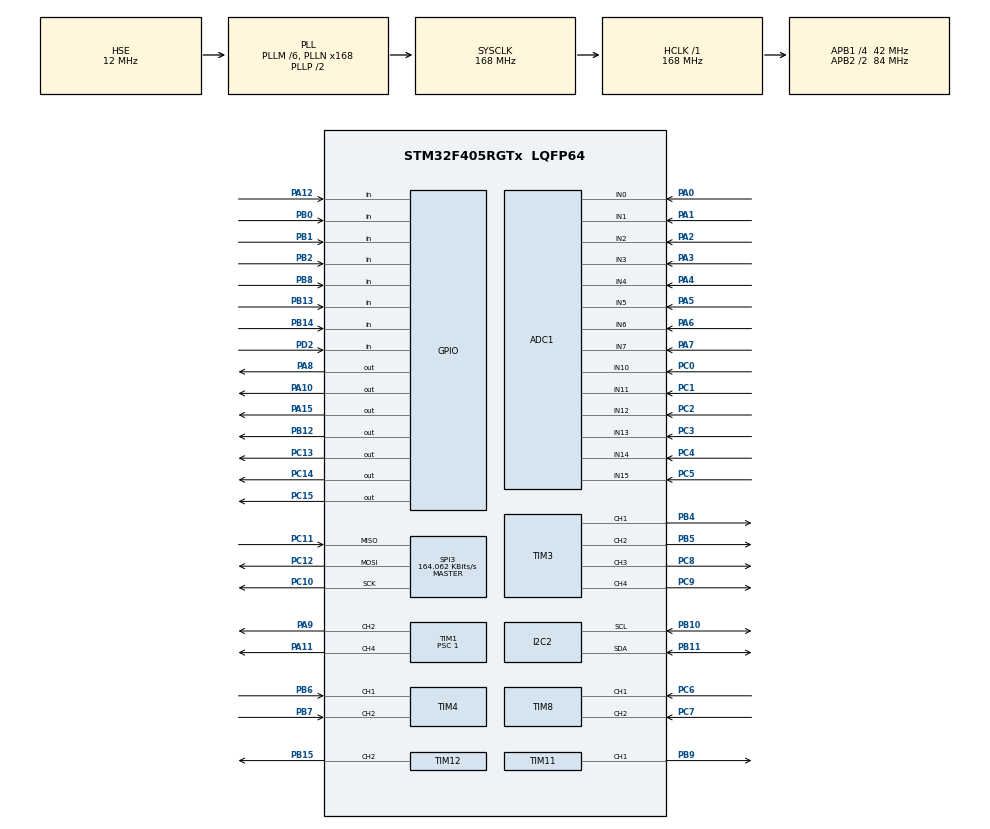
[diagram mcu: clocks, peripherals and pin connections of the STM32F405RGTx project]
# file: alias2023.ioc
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ADC1.Channel-0\#ChannelRegularConversion=ADC_CHANNEL_3
ADC1.Channel-1\#ChannelRegularConversion=ADC_CHANNEL_4
ADC1.Channel-10\#ChannelRegularConversion=ADC_CHANNEL_13
ADC1.Channel-11\#ChannelRegularConversion=ADC_CHANNEL_2
ADC1.Channel-12\#ChannelRegularConversion=ADC_CHANNEL_1
ADC1.Channel-13\#ChannelRegularConversion=ADC_CHANNEL_0
ADC1.Channel-2\#ChannelRegularConversion=ADC_CHANNEL_5
ADC1.Channel-3\#ChannelRegularConversion=ADC_CHANNEL_6
ADC1.Channel-4\#ChannelRegularConversion=ADC_CHANNEL_7
ADC1.Channel-5\#ChannelRegularConversion=ADC_CHANNEL_14
ADC1.Channel-6\#ChannelRegularConversion=ADC_CHANNEL_15
ADC1.Channel-7\#ChannelRegularConversion=ADC_CHANNEL_10
ADC1.Channel-8\#ChannelRegularConversion=ADC_CHANNEL_11
ADC1.Channel-9\#ChannelRegularConversion=ADC_CHANNEL_12
ADC1.ClockPrescaler=ADC_CLOCK_SYNC_PCLK_DIV4
ADC1.ContinuousConvMode=ENABLE
ADC1.DMAContinuousRequests=ENABLE
ADC1.EnableAnalogWatchDog=false
ADC1.NbrOfConversion=14
ADC1.NbrOfConversionFlag=1
ADC1.Rank-0\#ChannelRegularConversion=1
ADC1.Rank-1\#ChannelRegularConversion=2
ADC1.Rank-10\#ChannelRegularConversion=11
ADC1.Rank-11\#ChannelRegularConversion=12
ADC1.Rank-12\#ChannelRegularConversion=13
ADC1.Rank-13\#ChannelRegularConversion=14
ADC1.Rank-2\#ChannelRegularConversion=3
ADC1.Rank-3\#ChannelRegularConversion=4
ADC1.Rank-4\#ChannelRegularConversion=5
ADC1.Rank-5\#ChannelRegularConversion=6
ADC1.Rank-6\#ChannelRegularConversion=7
ADC1.Rank-7\#ChannelRegularConversion=8
ADC1.Rank-8\#ChannelRegularConversion=9
ADC1.Rank-9\#ChannelRegularConversion=10
ADC1.SamplingTime-0\#ChannelRegularConversion=ADC_SAMPLETIME_15CYCLES
ADC1.SamplingTime-1\#ChannelRegularConversion=ADC_SAMPLETIME_15CYCLES
ADC1.SamplingTime-10\#ChannelRegularConversion=ADC_SAMPLETIME_15CYCLES
ADC1.SamplingTime-11\#ChannelRegularConversion=ADC_SAMPLETIME_15CYCLES
ADC1.SamplingTime-12\#ChannelRegularConversion=ADC_SAMPLETIME_15CYCLES
ADC1.SamplingTime-13\#ChannelRegularConversion=ADC_SAMPLETIME_15CYCLES
ADC1.SamplingTime-2\#ChannelRegularConversion=ADC_SAMPLETIME_15CYCLES
ADC1.SamplingTime-3\#ChannelRegularConversion=ADC_SAMPLETIME_15CYCLES
ADC1.SamplingTime-4\#ChannelRegularConversion=ADC_SAMPLETIME_15CYCLES
ADC1.SamplingTime-5\#ChannelRegularConversion=ADC_SAMPLETIME_15CYCLES
ADC1.SamplingTime-6\#ChannelRegularConversion=ADC_SAMPLETIME_15CYCLES
ADC1.SamplingTime-7\#ChannelRegularConversion=ADC_SAMPLETIME_15CYCLES
ADC1.SamplingTime-8\#ChannelRegularConversion=ADC_SAMPLETIME_15CYCLES
ADC1.SamplingTime-9\#ChannelRegularConversion=ADC_SAMPLETIME_15CYCLES
ADC1.ScanConvMode=ENABLE
ADC1.master=1
Dma.ADC1.0.Direction=DMA_PERIPH_TO_MEMORY
Dma.ADC1.0.FIFOMode=DMA_FIFOMODE_DISABLE
Dma.ADC1.0.Instance=DMA2_Stream0
Dma.ADC1.0.MemDataAlignment=DMA_MDATAALIGN_HALFWORD
Dma.ADC1.0.MemInc=DMA_MINC_ENABLE
Dma.ADC1.0.Mode=DMA_CIRCULAR
Dma.ADC1.0.PeriphDataAlignment=DMA_PDATAALIGN_HALFWORD
Dma.ADC1.0.PeriphInc=DMA_PINC_DISABLE
Dma.ADC1.0.Priority=DMA_PRIORITY_LOW
Dma.Request0=ADC1
Mcu.Family=STM32F4
Mcu.Name=STM32F405RGTx
Mcu.Package=LQFP64
NVIC.DMA2_Stream0_IRQn=true\:0\:0\:false\:false\:true\:false\:true
NVIC.PriorityGroup=NVIC_PRIORITYGROUP_4
NVIC.TIM2_IRQn=true\:0\:0\:false\:false\:true\:true\:true
NVIC.TIM5_IRQn=true\:0\:0\:false\:false\:true\:true\:true
NVIC.TIM6_DAC_IRQn=true\:1\:0\:true\:false\:true\:true\:true
NVIC.TIM7_IRQn=true\:0\:0\:false\:false\:true\:true\:true
PA0-WKUP.Signal=ADCx_IN0
PA1.Signal=ADCx_IN1
PA10.Signal=GPIO_Output
PA11.Signal=S_TIM1_CH4
PA12.GPIO_PuPd=GPIO_PULLUP
PA12.Signal=GPIO_Input
PA13.Mode=Trace_Asynchronous_SW
PA13.Signal=SYS_JTMS-SWDIO
PA14.Mode=Trace_Asynchronous_SW
PA14.Signal=SYS_JTCK-SWCLK
PA15.Signal=GPIO_Output
PA2.Signal=ADCx_IN2
PA3.Signal=ADCx_IN3
PA4.Signal=ADCx_IN4
PA5.Signal=ADCx_IN5
PA6.Signal=ADCx_IN6
PA7.Signal=ADCx_IN7
PA8.Signal=GPIO_Output
PA9.Signal=S_TIM1_CH2
PB0.GPIO_PuPd=GPIO_PULLUP
PB0.Signal=GPIO_Input
PB1.GPIO_PuPd=GPIO_PULLUP
PB1.Signal=GPIO_Input
PB10.Mode=I2C
PB10.Signal=I2C2_SCL
PB11.Mode=I2C
PB11.Signal=I2C2_SDA
PB12.PinState=GPIO_PIN_SET
PB12.Signal=GPIO_Output
PB13.Signal=GPIO_Input
PB14.Signal=GPIO_Input
PB15.Signal=S_TIM12_CH2
PB2.GPIO_PuPd=GPIO_PULLUP
PB2.Signal=GPIO_Input
PB3.Mode=Trace_Asynchronous_SW
PB3.Signal=SYS_JTDO-SWO
PB4.Signal=S_TIM3_CH1
PB5.Signal=S_TIM3_CH2
PB6.Signal=S_TIM4_CH1
PB7.Signal=S_TIM4_CH2
PB8.Signal=GPIO_Input
PB9.Signal=S_TIM11_CH1
PC0.Signal=ADCx_IN10
PC1.Signal=ADCx_IN11
PC10.Mode=Full_Duplex_Master
PC10.Signal=SPI3_SCK
PC11.Mode=Full_Duplex_Master
PC11.Signal=SPI3_MISO
PC12.Mode=Full_Duplex_Master
PC12.Signal=SPI3_MOSI
PC13-ANTI_TAMP.Signal=GPIO_Output
PC14-OSC32_IN.Signal=GPIO_Output
PC15-OSC32_OUT.Signal=GPIO_Output
PC2.Signal=ADCx_IN12
PC3.Signal=ADCx_IN13
PC4.Signal=ADCx_IN14
PC5.Signal=ADCx_IN15
PC6.Signal=S_TIM8_CH1
PC7.Signal=S_TIM8_CH2
PC8.Signal=S_TIM3_CH3
PC9.Signal=S_TIM3_CH4
PD2.Signal=GPIO_Input
PH0-OSC_IN.Mode=HSE-External-Oscillator
PH0-OSC_IN.Signal=RCC_OSC_IN
PH1-OSC_OUT.Mode=HSE-External-Oscillator
PH1-OSC_OUT.Signal=RCC_OSC_OUT
ProjectManager.HeapSize=0x200
ProjectManager.StackSize=0x400
ProjectManager.TargetToolchain=STM32CubeIDE
RCC.48MHZClocksFreq_Value=84000000
RCC.AHBFreq_Value=168000000
RCC.APB1CLKDivider=RCC_HCLK_DIV4
RCC.APB1Freq_Value=42000000
RCC.APB1TimFreq_Value=84000000
RCC.APB2CLKDivider=RCC_HCLK_DIV2
RCC.APB2Freq_Value=84000000
RCC.APB2TimFreq_Value=168000000
RCC.CortexFreq_Value=168000000
RCC.HCLKFreq_Value=168000000
RCC.HSE_VALUE=12000000
RCC.HSI_VALUE=16000000
RCC.LSE_VALUE=32768
RCC.PLLM=6
RCC.PLLN=168
RCC.PLLSourceVirtual=RCC_PLLSOURCE_HSE
RCC.SYSCLKFreq_VALUE=168000000
RCC.SYSCLKSource=RCC_SYSCLKSOURCE_PLLCLK
RCC.VCOOutputFreq_Value=336000000
SH.ADCx_IN0.0=ADC1_IN0,IN0
SH.ADCx_IN1.0=ADC1_IN1,IN1
SH.ADCx_IN10.0=ADC1_IN10,IN10
SH.ADCx_IN11.0=ADC1_IN11,IN11
SH.ADCx_IN12.0=ADC1_IN12,IN12
SH.ADCx_IN13.0=ADC1_IN13,IN13
SH.ADCx_IN14.0=ADC1_IN14,IN14
SH.ADCx_IN15.0=ADC1_IN15,IN15
SH.ADCx_IN2.0=ADC1_IN2,IN2
SH.ADCx_IN3.0=ADC1_IN3,IN3
SH.ADCx_IN4.0=ADC1_IN4,IN4
SH.ADCx_IN5.0=ADC1_IN5,IN5
SH.ADCx_IN6.0=ADC1_IN6,IN6
SH.ADCx_IN7.0=ADC1_IN7,IN7
SH.S_TIM11_CH1.0=TIM11_CH1,PWM Generation1 CH1
SH.S_TIM12_CH2.0=TIM12_CH2,PWM Generation2 CH2
SH.S_TIM1_CH2.0=TIM1_CH2,PWM Generation2 CH2
SH.S_TIM1_CH4.0=TIM1_CH4,PWM Generation4 CH4
SH.S_TIM3_CH1.0=TIM3_CH1,PWM Generation1 CH1
SH.S_TIM3_CH2.0=TIM3_CH2,PWM Generation2 CH2
SH.S_TIM3_CH3.0=TIM3_CH3,PWM Generation3 CH3
SH.S_TIM3_CH4.0=TIM3_CH4,PWM Generation4 CH4
SH.S_TIM4_CH1.0=TIM4_CH1,Encoder_Interface
SH.S_TIM4_CH2.0=TIM4_CH2,Encoder_Interface
SH.S_TIM8_CH1.0=TIM8_CH1,Encoder_Interface
SH.S_TIM8_CH2.0=TIM8_CH2,Encoder_Interface
SPI3.BaudRatePrescaler=SPI_BAUDRATEPRESCALER_256
SPI3.CalculateBaudRate=164.062 KBits/s
SPI3.Direction=SPI_DIRECTION_2LINES
SPI3.Mode=SPI_MODE_MASTER
SPI3.VirtualType=VM_MASTER
TIM1.Channel-PWM\ Generation2\ CH2=TIM_CHANNEL_2
TIM1.Channel-PWM\ Generation4\ CH4=TIM_CHANNEL_4
TIM1.Period=1049
TIM1.Prescaler=1
TIM11.Channel=TIM_CHANNEL_1
TIM11.Period=1679
TIM12.Channel-PWM\ Generation2\ CH2=TIM_CHANNEL_2
TIM12.Period=53
TIM12.Prescaler=880
TIM2.Period=104999
TIM2.Prescaler=4
TIM3.Channel-PWM\ Generation1\ CH1=TIM_CHANNEL_1
TIM3.Channel-PWM\ Generation2\ CH2=TIM_CHANNEL_2
TIM3.Channel-PWM\ Generation3\ CH3=TIM_CHANNEL_3
TIM3.Channel-PWM\ Generation4\ CH4=TIM_CHANNEL_4
TIM4.EncoderMode=TIM_ENCODERMODE_TI12
TIM5.Period=20999
TIM5.Prescaler=4
TIM6.Period=10499
TIM6.Prescaler=4
TIM7.Period=1049
TIM7.Prescaler=4
TIM8.EncoderMode=TIM_ENCODERMODE_TI12
VP_TIM11_VS_ClockSourceINT.Mode=Enable_Timer
VP_TIM2_VS_ClockSourceINT.Mode=Internal
VP_TIM5_VS_ClockSourceINT.Mode=Internal
VP_TIM6_VS_ClockSourceINT.Mode=Enable_Timer
VP_TIM7_VS_ClockSourceINT.Mode=Enable_Timer
board=custom

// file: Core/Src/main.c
/* USER CODE BEGIN Header */
/**
  ******************************************************************************
  * @file           : main.c
  * @brief          : Main program body
  ******************************************************************************
  * @attention
  *
  * <h2><center>&copy; Copyright (c) 2023 STMicroelectronics.
  * All rights reserved.</center></h2>
  *
  * This software component is licensed by ST under BSD 3-Clause license,
  * the "License"; You may not use this file except in compliance with the
  * License. You may obtain a copy of the License at:
  *                        opensource.org/licenses/BSD-3-Clause
  *
  ******************************************************************************
  */
/* USER CODE END Header */
#include "main.h"

/* USER CODE BEGIN Includes */
#include "wrapper.hpp"

/* USER CODE END Includes */

ADC_HandleTypeDef hadc1;
DMA_HandleTypeDef hdma_adc1;

I2C_HandleTypeDef hi2c2;

SPI_HandleTypeDef hspi3;

TIM_HandleTypeDef htim1;
TIM_HandleTypeDef htim2;
TIM_HandleTypeDef htim3;
TIM_HandleTypeDef htim4;
TIM_HandleTypeDef htim5;
TIM_HandleTypeDef htim6;
TIM_HandleTypeDef htim7;
TIM_HandleTypeDef htim8;
TIM_HandleTypeDef htim11;
TIM_HandleTypeDef htim12;

/* USER CODE BEGIN PV */
#ifdef DEBUG_MODE
int16_t g_int_radian = 0;
uint16_t monitor_count;
float g_swo_test = 0;
float g_radian = 0;

float g_rad_stack_z = 0;
float g_rad_z = 0;
float g_run_pid_ratio = 0;

uint16_t g_monitor_u16 = 0;
float g_velocity = 0;
float g_angular_velocity = 0;
float g_distance_log[80] = {0};
float g_angular_log[80] = {0};

float g_ram_distance[3100];
float g_ram_radian[3100];

uint8_t g_run_mode_changed_internal_cnt = 0;

uint8_t g_store_distance = 0;
uint8_t g_store_radian = 0;
uint8_t g_store_various = 0;
uint8_t g_store_correct = 0;
uint8_t g_store_accel = 0;
uint8_t g_store_decel = 0;

/* Line sensor */
float g_line_diff = 0;
bool g_line_emer = false;
bool g_line_calib = false;

bool g_error_handler_adc1 = false;
bool g_error_handler_tim11 = false;
bool g_error_handler_tim1_ch2 = false;
bool g_error_handler_tim1_ch4 = false;
bool g_error_handler_tim4 = false;
bool g_error_handler_tim8 = false;
bool g_interval_enable = true;
uint16_t g_line_buff[NUM_OF_LINE_SENSORS] = {0};
uint16_t g_consecutive_line_buff[NUM_OF_LINE_SENSORS][CONSECUTIVE_TIMES] = {{0}};
uint16_t g_max_line_valu[NUM_OF_LINE_SENSORS] = {0};
uint16_t g_min_line_valu[NUM_OF_LINE_SENSORS] = {0};
uint16_t g_line_valu[NUM_OF_LINE_SENSORS] = {0};
uint32_t g_line_left = 0;
uint32_t g_line_right = 0;

/* Side seneor */
uint8_t g_side_pre_state = 0;
uint8_t g_side_now_state = 0;
uint32_t g_side_change_state_count = 0;
uint8_t g_side_goal_reach = 0;
uint8_t g_side_corner_reach = 0;
uint8_t g_side_cross_reach = 0;
uint8_t g_side_black_flag = 0;
uint8_t g_side_goal_flag = 0;
uint8_t g_side_corner_flag = 0;
uint8_t g_side_cross_flag = 0;
uint8_t g_side_before_noise_state = 0;
uint8_t g_side_noise_count = 0;
uint8_t g_side_ignore_flag = 0;
uint8_t g_goal_count = 0;
uint8_t g_corner_count = 0;
uint8_t g_cross_count = 0;

uint8_t g_ignore_flag = 0;
uint8_t g_corner_cnt = 0;
uint8_t g_cross_cnt = 0;
/* Monitor method CountUp 1 */
uint8_t g_pre_noise_state_cntup = 0;
uint8_t g_current_state_cntup = 0;
uint8_t g_exception_flags_cntup = 0;
uint8_t g_master_count_cntup = 0;
/* Monitor method CountUp 2 */
uint8_t g_exception_flags_cross = 0;
uint8_t g_master_count_cross = 0;
uint8_t g_write_state_cntup = 0;
uint8_t g_goal_reach_cntup = 0;
uint8_t g_corner_reach_cntup = 0;
uint8_t g_black_flag_cntup = 0;
uint8_t g_goal_flag_cntup = 0;
uint8_t g_corner_flag_cntup = 0;
uint8_t g_cross_flag_cntup = 0;
/* Monitor method CountUp 3 */
uint8_t g_write_state_cntup_2 = 0;
uint8_t g_goal_reach_cntup_2 = 0;
uint8_t g_corner_reach_cntup_2 = 0;
uint8_t g_black_flag_cntup_2 = 0;
uint8_t g_goal_flag_cntup_2 = 0;
uint8_t g_corner_flag_cntup_2 = 0;
uint8_t g_cross_flag_cntup_2 = 0;

/* IMU */
float g_calib_rad_stack = 0;
uint8_t g_imu_who_l = 0, g_imu_who_r = 0;
uint8_t g_imu_bank_l = 0, g_imu_bank_r = 0;
uint8_t g_imu_pwr_l = 0, g_imu_pwr_r = 0;
uint8_t g_imu_init = 0;
double g_deg_stack_z = 0;
float g_deg_z = 0;
int16_t g_gyro_x_l = 0, g_gyro_x_r = 0;
int16_t g_gyro_y_l = 0, g_gyro_y_r = 0;
int16_t g_gyro_z_l = 0, g_gyro_z_r = 0;
int16_t g_accel_x_l = 0, g_accel_x_r = 0;
int16_t g_accel_y_l = 0, g_accel_y_r = 0;
int16_t g_accel_z_l = 0, g_accel_z_r = 0;

/* Encoder */
int16_t g_enc_cnt_l = 0, g_enc_cnt_r = 0;
float g_distance_l = 0, g_distance_r = 0;
float g_distance = 0;
float g_distance_stack = 0;
float g_distance_diff = 0;

/* Motor */
float g_translation_ratio = 0;
float g_rotation_ratio = 0;
float g_sum_raito = 0;
float g_excess_ratio = 0;
float g_reduced_translation = 0;
float g_duty_l = 0, g_duty_r = 0;
int16_t g_motor_compare_l = 0, g_motor_compare_r = 0;

/* Flash */
uint32_t g_erase_failed_sector = 0;

/* Line trace */
float g_trace_p = 0;
float g_trace_i = 0;
float g_trace_d = 0;

/* Velocity control */
float g_target_velocity = 0;
float g_current_velocity = 0;
float g_filter_velocity = 0;
float g_velocity_error = 0;
float g_velocity_p = 0, g_velocity_i = 0, g_velocity_d = 0;
float g_velocity_p_gain = 0, g_velocity_i_gain = 0, g_velocity_d_gain = 0;

/* Wrapper */
uint32_t g_external_interrupt = 0;
uint32_t g_tim7 = 0;
uint32_t g_tim6 = 0;
uint32_t g_tim5 = 0;
uint32_t g_tim2 = 0;
uint8_t g_flash_test = 0;
#endif // DEBUG_MODE

/* Wrapper */
uint8_t g_main_while_reset = 0;
uint8_t g_switch_state = 0;
uint8_t g_mode = 0;
uint8_t g_emergency_stop = 0;
uint8_t g_run_end = 0;
/* Timer */
uint8_t g_tim6_complete = 0, g_tim5_complete = 0, g_tim2_complete = 0;
uint8_t g_tim6_yet = 0, g_tim5_yet = 0, g_tim2_yet = 0;
uint8_t g_goal_cnt = 0;
float g_trans = 0;
float g_rotat = 0;
uint8_t g_first_log_failed = 0;
uint8_t g_store_periodic_log = 0;
uint8_t g_store_accel_log = 0;
float g_target = 0;
float g_common_speed = 0;
uint8_t g_process_complete = 0;
uint8_t g_flash_erase = 0;

/* USER CODE END PV */

void SystemClock_Config(void);
static void MX_GPIO_Init(void);
static void MX_DMA_Init(void);
static void MX_ADC1_Init(void);
static void MX_I2C2_Init(void);
static void MX_SPI3_Init(void);
static void MX_TIM1_Init(void);
static void MX_TIM3_Init(void);
static void MX_TIM4_Init(void);
static void MX_TIM6_Init(void);
static void MX_TIM7_Init(void);
static void MX_TIM8_Init(void);
static void MX_TIM11_Init(void);
static void MX_TIM12_Init(void);
static void MX_TIM2_Init(void);
static void MX_TIM5_Init(void);

/* USER CODE BEGIN 0 */
void HAL_TIM_PeriodElapsedCallback(TIM_HandleTypeDef *htim)
{
  if(htim->Instance == TIM2)
  {
    InterruptTim2();
  }
  if(htim->Instance == TIM6)
  {
    InterruptTim6();
  }
  if(htim->Instance == TIM7)
  {
    InterruptTim7();
  }
}

/* USER CODE END 0 */

int main(void)
{

  /* MCU Configuration--------------------------------------------------------*/

  /* Reset of all peripherals, Initializes the Flash interface and the Systick. */
  HAL_Init();

  /* Configure the system clock */
  SystemClock_Config();

  /* Initialize all configured peripherals */
  MX_GPIO_Init();
  MX_DMA_Init();
  MX_ADC1_Init();
  MX_I2C2_Init();
  MX_SPI3_Init();
  MX_TIM1_Init();
  MX_TIM3_Init();
  MX_TIM4_Init();
  MX_TIM6_Init();
  MX_TIM7_Init();
  MX_TIM8_Init();
  MX_TIM11_Init();
  MX_TIM12_Init();
  MX_TIM2_Init();
  MX_TIM5_Init();
  /* USER CODE BEGIN 2 */
  Init();

  /* USER CODE END 2 */

  /* Infinite loop */
  while (1)
  {

    /* USER CODE BEGIN 3 */
  }

#ifdef DEBUG_MODE
  RamLog();
#endif // DEBUG_MODE

  /* USER CODE END 3 */
}

void SystemClock_Config(void)
{
  RCC_OscInitTypeDef RCC_OscInitStruct = {0};
  RCC_ClkInitTypeDef RCC_ClkInitStruct = {0};

  /** Configure the main internal regulator output voltage
  */
  __HAL_RCC_PWR_CLK_ENABLE();
  __HAL_PWR_VOLTAGESCALING_CONFIG(PWR_REGULATOR_VOLTAGE_SCALE1);
  /** Initializes the RCC Oscillators according to the specified parameters
  * in the RCC_OscInitTypeDef structure.
  */
  RCC_OscInitStruct.OscillatorType = RCC_OSCILLATORTYPE_HSE;
  RCC_OscInitStruct.HSEState = RCC_HSE_ON;
  RCC_OscInitStruct.PLL.PLLState = RCC_PLL_ON;
  RCC_OscInitStruct.PLL.PLLSource = RCC_PLLSOURCE_HSE;
  RCC_OscInitStruct.PLL.PLLM = 6;
  RCC_OscInitStruct.PLL.PLLN = 168;
  RCC_OscInitStruct.PLL.PLLP = RCC_PLLP_DIV2;
  RCC_OscInitStruct.PLL.PLLQ = 4;
  if (HAL_RCC_OscConfig(&RCC_OscInitStruct) != HAL_OK)
  {
    Error_Handler();
  }
  /** Initializes the CPU, AHB and APB buses clocks
  */
  RCC_ClkInitStruct.ClockType = RCC_CLOCKTYPE_HCLK|RCC_CLOCKTYPE_SYSCLK
                              |RCC_CLOCKTYPE_PCLK1|RCC_CLOCKTYPE_PCLK2;
  RCC_ClkInitStruct.SYSCLKSource = RCC_SYSCLKSOURCE_PLLCLK;
  RCC_ClkInitStruct.AHBCLKDivider = RCC_SYSCLK_DIV1;
  RCC_ClkInitStruct.APB1CLKDivider = RCC_HCLK_DIV4;
  RCC_ClkInitStruct.APB2CLKDivider = RCC_HCLK_DIV2;

  if (HAL_RCC_ClockConfig(&RCC_ClkInitStruct, FLASH_LATENCY_5) != HAL_OK)
  {
    Error_Handler();
  }
}

static void MX_ADC1_Init(void)
{

  ADC_ChannelConfTypeDef sConfig = {0};

  /** Configure the global features of the ADC (Clock, Resolution, Data Alignment and number of conversion)
  */
  hadc1.Instance = ADC1;
  hadc1.Init.ClockPrescaler = ADC_CLOCK_SYNC_PCLK_DIV4;
  hadc1.Init.Resolution = ADC_RESOLUTION_12B;
  hadc1.Init.ScanConvMode = ENABLE;
  hadc1.Init.ContinuousConvMode = ENABLE;
  hadc1.Init.DiscontinuousConvMode = DISABLE;
  hadc1.Init.ExternalTrigConvEdge = ADC_EXTERNALTRIGCONVEDGE_NONE;
  hadc1.Init.ExternalTrigConv = ADC_SOFTWARE_START;
  hadc1.Init.DataAlign = ADC_DATAALIGN_RIGHT;
  hadc1.Init.NbrOfConversion = 14;
  hadc1.Init.DMAContinuousRequests = ENABLE;
  hadc1.Init.EOCSelection = ADC_EOC_SINGLE_CONV;
  if (HAL_ADC_Init(&hadc1) != HAL_OK)
  {
    Error_Handler();
  }
  /** Configure for the selected ADC regular channel its corresponding rank in the sequencer and its sample time.
  */
  sConfig.Channel = ADC_CHANNEL_3;
  sConfig.Rank = 1;
  sConfig.SamplingTime = ADC_SAMPLETIME_15CYCLES;
  if (HAL_ADC_ConfigChannel(&hadc1, &sConfig) != HAL_OK)
  {
    Error_Handler();
  }
  /** Configure for the selected ADC regular channel its corresponding rank in the sequencer and its sample time.
  */
  sConfig.Channel = ADC_CHANNEL_4;
  sConfig.Rank = 2;
  if (HAL_ADC_ConfigChannel(&hadc1, &sConfig) != HAL_OK)
  {
    Error_Handler();
  }
  /** Configure for the selected ADC regular channel its corresponding rank in the sequencer and its sample time.
  */
  sConfig.Channel = ADC_CHANNEL_5;
  sConfig.Rank = 3;
  if (HAL_ADC_ConfigChannel(&hadc1, &sConfig) != HAL_OK)
  {
    Error_Handler();
  }
  /** Configure for the selected ADC regular channel its corresponding rank in the sequencer and its sample time.
  */
  sConfig.Channel = ADC_CHANNEL_6;
  sConfig.Rank = 4;
  if (HAL_ADC_ConfigChannel(&hadc1, &sConfig) != HAL_OK)
  {
    Error_Handler();
  }
  /** Configure for the selected ADC regular channel its corresponding rank in the sequencer and its sample time.
  */
  sConfig.Channel = ADC_CHANNEL_7;
  sConfig.Rank = 5;
  if (HAL_ADC_ConfigChannel(&hadc1, &sConfig) != HAL_OK)
  {
    Error_Handler();
  }
  /** Configure for the selected ADC regular channel its corresponding rank in the sequencer and its sample time.
  */
  sConfig.Channel = ADC_CHANNEL_14;
  sConfig.Rank = 6;
  if (HAL_ADC_ConfigChannel(&hadc1, &sConfig) != HAL_OK)
  {
    Error_Handler();
  }
  /** Configure for the selected ADC regular channel its corresponding rank in the sequencer and its sample time.
  */
  sConfig.Channel = ADC_CHANNEL_15;
  sConfig.Rank = 7;
  if (HAL_ADC_ConfigChannel(&hadc1, &sConfig) != HAL_OK)
  {
    Error_Handler();
  }
  /** Configure for the selected ADC regular channel its corresponding rank in the sequencer and its sample time.
  */
  sConfig.Channel = ADC_CHANNEL_10;
  sConfig.Rank = 8;
  if (HAL_ADC_ConfigChannel(&hadc1, &sConfig) != HAL_OK)
  {
    Error_Handler();
  }
  /** Configure for the selected ADC regular channel its corresponding rank in the sequencer and its sample time.
  */
  sConfig.Channel = ADC_CHANNEL_11;
  sConfig.Rank = 9;
  if (HAL_ADC_ConfigChannel(&hadc1, &sConfig) != HAL_OK)
  {
    Error_Handler();
  }
  /** Configure for the selected ADC regular channel its corresponding rank in the sequencer and its sample time.
  */
  sConfig.Channel = ADC_CHANNEL_12;
  sConfig.Rank = 10;
  if (HAL_ADC_ConfigChannel(&hadc1, &sConfig) != HAL_OK)
  {
    Error_Handler();
  }
  /** Configure for the selected ADC regular channel its corresponding rank in the sequencer and its sample time.
  */
  sConfig.Channel = ADC_CHANNEL_13;
  sConfig.Rank = 11;
  if (HAL_ADC_ConfigChannel(&hadc1, &sConfig) != HAL_OK)
  {
    Error_Handler();
  }
  /** Configure for the selected ADC regular channel its corresponding rank in the sequencer and its sample time.
  */
  sConfig.Channel = ADC_CHANNEL_2;
  sConfig.Rank = 12;
  if (HAL_ADC_ConfigChannel(&hadc1, &sConfig) != HAL_OK)
  {
    Error_Handler();
  }
  /** Configure for the selected ADC regular channel its corresponding rank in the sequencer and its sample time.
  */
  sConfig.Channel = ADC_CHANNEL_1;
  sConfig.Rank = 13;
  if (HAL_ADC_ConfigChannel(&hadc1, &sConfig) != HAL_OK)
  {
    Error_Handler();
  }
  /** Configure for the selected ADC regular channel its corresponding rank in the sequencer and its sample time.
  */
  sConfig.Channel = ADC_CHANNEL_0;
  sConfig.Rank = 14;
  if (HAL_ADC_ConfigChannel(&hadc1, &sConfig) != HAL_OK)
  {
    Error_Handler();
  }

}

static void MX_I2C2_Init(void)
{

  hi2c2.Instance = I2C2;
  hi2c2.Init.ClockSpeed = 100000;
  hi2c2.Init.DutyCycle = I2C_DUTYCYCLE_2;
  hi2c2.Init.OwnAddress1 = 0;
  hi2c2.Init.AddressingMode = I2C_ADDRESSINGMODE_7BIT;
  hi2c2.Init.DualAddressMode = I2C_DUALADDRESS_DISABLE;
  hi2c2.Init.OwnAddress2 = 0;
  hi2c2.Init.GeneralCallMode = I2C_GENERALCALL_DISABLE;
  hi2c2.Init.NoStretchMode = I2C_NOSTRETCH_DISABLE;
  if (HAL_I2C_Init(&hi2c2) != HAL_OK)
  {
    Error_Handler();
  }

}

static void MX_SPI3_Init(void)
{

  /* SPI3 parameter configuration*/
  hspi3.Instance = SPI3;
  hspi3.Init.Mode = SPI_MODE_MASTER;
  hspi3.Init.Direction = SPI_DIRECTION_2LINES;
  hspi3.Init.DataSize = SPI_DATASIZE_8BIT;
  hspi3.Init.CLKPolarity = SPI_POLARITY_LOW;
  hspi3.Init.CLKPhase = SPI_PHASE_1EDGE;
  hspi3.Init.NSS = SPI_NSS_SOFT;
  hspi3.Init.BaudRatePrescaler = SPI_BAUDRATEPRESCALER_256;
  hspi3.Init.FirstBit = SPI_FIRSTBIT_MSB;
  hspi3.Init.TIMode = SPI_TIMODE_DISABLE;
  hspi3.Init.CRCCalculation = SPI_CRCCALCULATION_DISABLE;
  hspi3.Init.CRCPolynomial = 10;
  if (HAL_SPI_Init(&hspi3) != HAL_OK)
  {
    Error_Handler();
  }

}

static void MX_TIM1_Init(void)
{

  TIM_MasterConfigTypeDef sMasterConfig = {0};
  TIM_OC_InitTypeDef sConfigOC = {0};
  TIM_BreakDeadTimeConfigTypeDef sBreakDeadTimeConfig = {0};

  htim1.Instance = TIM1;
  htim1.Init.Prescaler = 1;
  htim1.Init.CounterMode = TIM_COUNTERMODE_UP;
  htim1.Init.Period = 1049;
  htim1.Init.ClockDivision = TIM_CLOCKDIVISION_DIV1;
  htim1.Init.RepetitionCounter = 0;
  htim1.Init.AutoReloadPreload = TIM_AUTORELOAD_PRELOAD_DISABLE;
  if (HAL_TIM_PWM_Init(&htim1) != HAL_OK)
  {
    Error_Handler();
  }
  sMasterConfig.MasterOutputTrigger = TIM_TRGO_RESET;
  sMasterConfig.MasterSlaveMode = TIM_MASTERSLAVEMODE_DISABLE;
  if (HAL_TIMEx_MasterConfigSynchronization(&htim1, &sMasterConfig) != HAL_OK)
  {
    Error_Handler();
  }
  sConfigOC.OCMode = TIM_OCMODE_PWM1;
  sConfigOC.Pulse = 0;
  sConfigOC.OCPolarity = TIM_OCPOLARITY_HIGH;
  sConfigOC.OCNPolarity = TIM_OCNPOLARITY_HIGH;
  sConfigOC.OCFastMode = TIM_OCFAST_DISABLE;
  sConfigOC.OCIdleState = TIM_OCIDLESTATE_RESET;
  sConfigOC.OCNIdleState = TIM_OCNIDLESTATE_RESET;
  if (HAL_TIM_PWM_ConfigChannel(&htim1, &sConfigOC, TIM_CHANNEL_2) != HAL_OK)
  {
    Error_Handler();
  }
  if (HAL_TIM_PWM_ConfigChannel(&htim1, &sConfigOC, TIM_CHANNEL_4) != HAL_OK)
  {
    Error_Handler();
  }
  sBreakDeadTimeConfig.OffStateRunMode = TIM_OSSR_DISABLE;
  sBreakDeadTimeConfig.OffStateIDLEMode = TIM_OSSI_DISABLE;
  sBreakDeadTimeConfig.LockLevel = TIM_LOCKLEVEL_OFF;
  sBreakDeadTimeConfig.DeadTime = 0;
  sBreakDeadTimeConfig.BreakState = TIM_BREAK_DISABLE;
  sBreakDeadTimeConfig.BreakPolarity = TIM_BREAKPOLARITY_HIGH;
  sBreakDeadTimeConfig.AutomaticOutput = TIM_AUTOMATICOUTPUT_DISABLE;
  if (HAL_TIMEx_ConfigBreakDeadTime(&htim1, &sBreakDeadTimeConfig) != HAL_OK)
  {
    Error_Handler();
  }
  HAL_TIM_MspPostInit(&htim1);

}

static void MX_TIM2_Init(void)
{

  TIM_ClockConfigTypeDef sClockSourceConfig = {0};
  TIM_MasterConfigTypeDef sMasterConfig = {0};

  htim2.Instance = TIM2;
  htim2.Init.Prescaler = 4;
  htim2.Init.CounterMode = TIM_COUNTERMODE_UP;
  htim2.Init.Period = 104999;
  htim2.Init.ClockDivision = TIM_CLOCKDIVISION_DIV1;
  htim2.Init.AutoReloadPreload = TIM_AUTORELOAD_PRELOAD_DISABLE;
  if (HAL_TIM_Base_Init(&htim2) != HAL_OK)
  {
    Error_Handler();
  }
  sClockSourceConfig.ClockSource = TIM_CLOCKSOURCE_INTERNAL;
  if (HAL_TIM_ConfigClockSource(&htim2, &sClockSourceConfig) != HAL_OK)
  {
    Error_Handler();
  }
  sMasterConfig.MasterOutputTrigger = TIM_TRGO_RESET;
  sMasterConfig.MasterSlaveMode = TIM_MASTERSLAVEMODE_DISABLE;
  if (HAL_TIMEx_MasterConfigSynchronization(&htim2, &sMasterConfig) != HAL_OK)
  {
    Error_Handler();
  }

}

static void MX_TIM3_Init(void)
{

  TIM_MasterConfigTypeDef sMasterConfig = {0};
  TIM_OC_InitTypeDef sConfigOC = {0};

  htim3.Instance = TIM3;
  htim3.Init.Prescaler = 0;
  htim3.Init.CounterMode = TIM_COUNTERMODE_UP;
  htim3.Init.Period = 65535;
  htim3.Init.ClockDivision = TIM_CLOCKDIVISION_DIV1;
  htim3.Init.AutoReloadPreload = TIM_AUTORELOAD_PRELOAD_DISABLE;
  if (HAL_TIM_PWM_Init(&htim3) != HAL_OK)
  {
    Error_Handler();
  }
  sMasterConfig.MasterOutputTrigger = TIM_TRGO_RESET;
  sMasterConfig.MasterSlaveMode = TIM_MASTERSLAVEMODE_DISABLE;
  if (HAL_TIMEx_MasterConfigSynchronization(&htim3, &sMasterConfig) != HAL_OK)
  {
    Error_Handler();
  }
  sConfigOC.OCMode = TIM_OCMODE_PWM1;
  sConfigOC.Pulse = 0;
  sConfigOC.OCPolarity = TIM_OCPOLARITY_HIGH;
  sConfigOC.OCFastMode = TIM_OCFAST_DISABLE;
  if (HAL_TIM_PWM_ConfigChannel(&htim3, &sConfigOC, TIM_CHANNEL_1) != HAL_OK)
  {
    Error_Handler();
  }
  if (HAL_TIM_PWM_ConfigChannel(&htim3, &sConfigOC, TIM_CHANNEL_2) != HAL_OK)
  {
    Error_Handler();
  }
  if (HAL_TIM_PWM_ConfigChannel(&htim3, &sConfigOC, TIM_CHANNEL_3) != HAL_OK)
  {
    Error_Handler();
  }
  if (HAL_TIM_PWM_ConfigChannel(&htim3, &sConfigOC, TIM_CHANNEL_4) != HAL_OK)
  {
    Error_Handler();
  }
  HAL_TIM_MspPostInit(&htim3);

}

static void MX_TIM4_Init(void)
{

  TIM_Encoder_InitTypeDef sConfig = {0};
  TIM_MasterConfigTypeDef sMasterConfig = {0};

  htim4.Instance = TIM4;
  htim4.Init.Prescaler = 0;
  htim4.Init.CounterMode = TIM_COUNTERMODE_UP;
  htim4.Init.Period = 65535;
  htim4.Init.ClockDivision = TIM_CLOCKDIVISION_DIV1;
  htim4.Init.AutoReloadPreload = TIM_AUTORELOAD_PRELOAD_DISABLE;
  sConfig.EncoderMode = TIM_ENCODERMODE_TI12;
  sConfig.IC1Polarity = TIM_ICPOLARITY_RISING;
  sConfig.IC1Selection = TIM_ICSELECTION_DIRECTTI;
  sConfig.IC1Prescaler = TIM_ICPSC_DIV1;
  sConfig.IC1Filter = 0;
  sConfig.IC2Polarity = TIM_ICPOLARITY_RISING;
  sConfig.IC2Selection = TIM_ICSELECTION_DIRECTTI;
  sConfig.IC2Prescaler = TIM_ICPSC_DIV1;
  sConfig.IC2Filter = 0;
  if (HAL_TIM_Encoder_Init(&htim4, &sConfig) != HAL_OK)
  {
    Error_Handler();
  }
  sMasterConfig.MasterOutputTrigger = TIM_TRGO_RESET;
  sMasterConfig.MasterSlaveMode = TIM_MASTERSLAVEMODE_DISABLE;
  if (HAL_TIMEx_MasterConfigSynchronization(&htim4, &sMasterConfig) != HAL_OK)
  {
    Error_Handler();
  }

}

static void MX_TIM5_Init(void)
{

  TIM_ClockConfigTypeDef sClockSourceConfig = {0};
  TIM_MasterConfigTypeDef sMasterConfig = {0};

  htim5.Instance = TIM5;
  htim5.Init.Prescaler = 4;
  htim5.Init.CounterMode = TIM_COUNTERMODE_UP;
  htim5.Init.Period = 20999;
  htim5.Init.ClockDivision = TIM_CLOCKDIVISION_DIV1;
  htim5.Init.AutoReloadPreload = TIM_AUTORELOAD_PRELOAD_DISABLE;
  if (HAL_TIM_Base_Init(&htim5) != HAL_OK)
  {
    Error_Handler();
  }
  sClockSourceConfig.ClockSource = TIM_CLOCKSOURCE_INTERNAL;
  if (HAL_TIM_ConfigClockSource(&htim5, &sClockSourceConfig) != HAL_OK)
  {
    Error_Handler();
  }
  sMasterConfig.MasterOutputTrigger = TIM_TRGO_RESET;
  sMasterConfig.MasterSlaveMode = TIM_MASTERSLAVEMODE_DISABLE;
  if (HAL_TIMEx_MasterConfigSynchronization(&htim5, &sMasterConfig) != HAL_OK)
  {
    Error_Handler();
  }

}

static void MX_TIM6_Init(void)
{

  TIM_MasterConfigTypeDef sMasterConfig = {0};

  htim6.Instance = TIM6;
  htim6.Init.Prescaler = 4;
  htim6.Init.CounterMode = TIM_COUNTERMODE_UP;
  htim6.Init.Period = 10499;
  htim6.Init.AutoReloadPreload = TIM_AUTORELOAD_PRELOAD_DISABLE;
  if (HAL_TIM_Base_Init(&htim6) != HAL_OK)
  {
    Error_Handler();
  }
  sMasterConfig.MasterOutputTrigger = TIM_TRGO_RESET;
  sMasterConfig.MasterSlaveMode = TIM_MASTERSLAVEMODE_DISABLE;
  if (HAL_TIMEx_MasterConfigSynchronization(&htim6, &sMasterConfig) != HAL_OK)
  {
    Error_Handler();
  }

}

static void MX_TIM7_Init(void)
{

  TIM_MasterConfigTypeDef sMasterConfig = {0};

  htim7.Instance = TIM7;
  htim7.Init.Prescaler = 4;
  htim7.Init.CounterMode = TIM_COUNTERMODE_UP;
  htim7.Init.Period = 1049;
  htim7.Init.AutoReloadPreload = TIM_AUTORELOAD_PRELOAD_DISABLE;
  if (HAL_TIM_Base_Init(&htim7) != HAL_OK)
  {
    Error_Handler();
  }
  sMasterConfig.MasterOutputTrigger = TIM_TRGO_RESET;
  sMasterConfig.MasterSlaveMode = TIM_MASTERSLAVEMODE_DISABLE;
  if (HAL_TIMEx_MasterConfigSynchronization(&htim7, &sMasterConfig) != HAL_OK)
  {
    Error_Handler();
  }

}

static void MX_TIM8_Init(void)
{

  TIM_Encoder_InitTypeDef sConfig = {0};
  TIM_MasterConfigTypeDef sMasterConfig = {0};

  htim8.Instance = TIM8;
  htim8.Init.Prescaler = 0;
  htim8.Init.CounterMode = TIM_COUNTERMODE_UP;
  htim8.Init.Period = 65535;
  htim8.Init.ClockDivision = TIM_CLOCKDIVISION_DIV1;
  htim8.Init.RepetitionCounter = 0;
  htim8.Init.AutoReloadPreload = TIM_AUTORELOAD_PRELOAD_DISABLE;
  sConfig.EncoderMode = TIM_ENCODERMODE_TI12;
  sConfig.IC1Polarity = TIM_ICPOLARITY_RISING;
  sConfig.IC1Selection = TIM_ICSELECTION_DIRECTTI;
  sConfig.IC1Prescaler = TIM_ICPSC_DIV1;
  sConfig.IC1Filter = 0;
  sConfig.IC2Polarity = TIM_ICPOLARITY_RISING;
  sConfig.IC2Selection = TIM_ICSELECTION_DIRECTTI;
  sConfig.IC2Prescaler = TIM_ICPSC_DIV1;
  sConfig.IC2Filter = 0;
  if (HAL_TIM_Encoder_Init(&htim8, &sConfig) != HAL_OK)
  {
    Error_Handler();
  }
  sMasterConfig.MasterOutputTrigger = TIM_TRGO_RESET;
  sMasterConfig.MasterSlaveMode = TIM_MASTERSLAVEMODE_DISABLE;
  if (HAL_TIMEx_MasterConfigSynchronization(&htim8, &sMasterConfig) != HAL_OK)
  {
    Error_Handler();
  }

}

static void MX_TIM11_Init(void)
{

  TIM_OC_InitTypeDef sConfigOC = {0};

  htim11.Instance = TIM11;
  htim11.Init.Prescaler = 0;
  htim11.Init.CounterMode = TIM_COUNTERMODE_UP;
  htim11.Init.Period = 1679;
  htim11.Init.ClockDivision = TIM_CLOCKDIVISION_DIV1;
  htim11.Init.AutoReloadPreload = TIM_AUTORELOAD_PRELOAD_DISABLE;
  if (HAL_TIM_Base_Init(&htim11) != HAL_OK)
  {
    Error_Handler();
  }
  if (HAL_TIM_PWM_Init(&htim11) != HAL_OK)
  {
    Error_Handler();
  }
  sConfigOC.OCMode = TIM_OCMODE_PWM1;
  sConfigOC.Pulse = 0;
  sConfigOC.OCPolarity = TIM_OCPOLARITY_HIGH;
  sConfigOC.OCFastMode = TIM_OCFAST_DISABLE;
  if (HAL_TIM_PWM_ConfigChannel(&htim11, &sConfigOC, TIM_CHANNEL_1) != HAL_OK)
  {
    Error_Handler();
  }
  HAL_TIM_MspPostInit(&htim11);

}

static void MX_TIM12_Init(void)
{

  TIM_OC_InitTypeDef sConfigOC = {0};

  htim12.Instance = TIM12;
  htim12.Init.Prescaler = 880;
  htim12.Init.CounterMode = TIM_COUNTERMODE_UP;
  htim12.Init.Period = 53;
  htim12.Init.ClockDivision = TIM_CLOCKDIVISION_DIV1;
  htim12.Init.AutoReloadPreload = TIM_AUTORELOAD_PRELOAD_DISABLE;
  if (HAL_TIM_PWM_Init(&htim12) != HAL_OK)
  {
    Error_Handler();
  }
  sConfigOC.OCMode = TIM_OCMODE_PWM1;
  sConfigOC.Pulse = 0;
  sConfigOC.OCPolarity = TIM_OCPOLARITY_HIGH;
  sConfigOC.OCFastMode = TIM_OCFAST_DISABLE;
  if (HAL_TIM_PWM_ConfigChannel(&htim12, &sConfigOC, TIM_CHANNEL_2) != HAL_OK)
  {
    Error_Handler();
  }
  HAL_TIM_MspPostInit(&htim12);

}

static void MX_DMA_Init(void)
{

  /* DMA controller clock enable */
  __HAL_RCC_DMA2_CLK_ENABLE();

  /* DMA interrupt init */
  /* DMA2_Stream0_IRQn interrupt configuration */
  HAL_NVIC_SetPriority(DMA2_Stream0_IRQn, 0, 0);
  HAL_NVIC_EnableIRQ(DMA2_Stream0_IRQn);

}

static void MX_GPIO_Init(void)
{
  GPIO_InitTypeDef GPIO_InitStruct = {0};

  /* GPIO Ports Clock Enable */
  __HAL_RCC_GPIOC_CLK_ENABLE();
  __HAL_RCC_GPIOH_CLK_ENABLE();
  __HAL_RCC_GPIOA_CLK_ENABLE();
  __HAL_RCC_GPIOB_CLK_ENABLE();
  __HAL_RCC_GPIOD_CLK_ENABLE();

  /*Configure GPIO pin Output Level */
  HAL_GPIO_WritePin(GPIOC, GPIO_PIN_13|GPIO_PIN_14|GPIO_PIN_15, GPIO_PIN_RESET);

  /*Configure GPIO pin Output Level */
  HAL_GPIO_WritePin(GPIOB, GPIO_PIN_12, GPIO_PIN_SET);

  /*Configure GPIO pin Output Level */
  HAL_GPIO_WritePin(GPIOA, GPIO_PIN_8|GPIO_PIN_10|GPIO_PIN_15, GPIO_PIN_RESET);

  /*Configure GPIO pins : PC13 PC14 PC15 */
  GPIO_InitStruct.Pin = GPIO_PIN_13|GPIO_PIN_14|GPIO_PIN_15;
  GPIO_InitStruct.Mode = GPIO_MODE_OUTPUT_PP;
  GPIO_InitStruct.Pull = GPIO_NOPULL;
  GPIO_InitStruct.Speed = GPIO_SPEED_FREQ_LOW;
  HAL_GPIO_Init(GPIOC, &GPIO_InitStruct);

  /*Configure GPIO pins : PB0 PB1 PB2 */
  GPIO_InitStruct.Pin = GPIO_PIN_0|GPIO_PIN_1|GPIO_PIN_2;
  GPIO_InitStruct.Mode = GPIO_MODE_INPUT;
  GPIO_InitStruct.Pull = GPIO_PULLUP;
  HAL_GPIO_Init(GPIOB, &GPIO_InitStruct);

  /*Configure GPIO pin : PB12 */
  GPIO_InitStruct.Pin = GPIO_PIN_12;
  GPIO_InitStruct.Mode = GPIO_MODE_OUTPUT_PP;
  GPIO_InitStruct.Pull = GPIO_NOPULL;
  GPIO_InitStruct.Speed = GPIO_SPEED_FREQ_LOW;
  HAL_GPIO_Init(GPIOB, &GPIO_InitStruct);

  /*Configure GPIO pins : PB13 PB14 PB8 */
  GPIO_InitStruct.Pin = GPIO_PIN_13|GPIO_PIN_14|GPIO_PIN_8;
  GPIO_InitStruct.Mode = GPIO_MODE_INPUT;
  GPIO_InitStruct.Pull = GPIO_NOPULL;
  HAL_GPIO_Init(GPIOB, &GPIO_InitStruct);

  /*Configure GPIO pins : PA8 PA10 PA15 */
  GPIO_InitStruct.Pin = GPIO_PIN_8|GPIO_PIN_10|GPIO_PIN_15;
  GPIO_InitStruct.Mode = GPIO_MODE_OUTPUT_PP;
  GPIO_InitStruct.Pull = GPIO_NOPULL;
  GPIO_InitStruct.Speed = GPIO_SPEED_FREQ_LOW;
  HAL_GPIO_Init(GPIOA, &GPIO_InitStruct);

  /*Configure GPIO pin : PA12 */
  GPIO_InitStruct.Pin = GPIO_PIN_12;
  GPIO_InitStruct.Mode = GPIO_MODE_INPUT;
  GPIO_InitStruct.Pull = GPIO_PULLUP;
  HAL_GPIO_Init(GPIOA, &GPIO_InitStruct);

  /*Configure GPIO pin : PD2 */
  GPIO_InitStruct.Pin = GPIO_PIN_2;
  GPIO_InitStruct.Mode = GPIO_MODE_INPUT;
  GPIO_InitStruct.Pull = GPIO_NOPULL;
  HAL_GPIO_Init(GPIOD, &GPIO_InitStruct);

}

void Error_Handler(void)
{
  __disable_irq();
  while (1)
  {
  }
}

/************************ (C) COPYRIGHT STMicroelectronics *****END OF FILE****/
